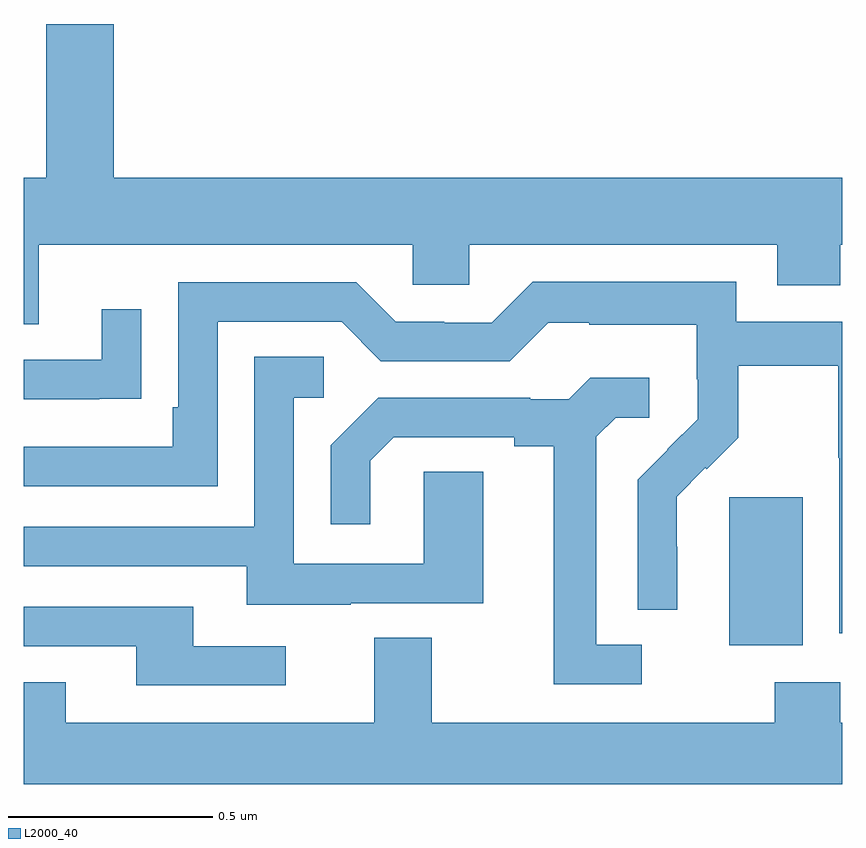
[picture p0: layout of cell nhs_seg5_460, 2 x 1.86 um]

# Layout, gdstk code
import gdstk
lib = gdstk.Library(unit=1e-6, precision=1e-09)
def R(c, l, rs):  # rectangles x0, y0, x1, y1
    for r in rs: c.add(gdstk.rectangle(r[:2], r[2:], *l))
def P(c, l, *ps):  # polygons
    for p in ps: c.add(gdstk.Polygon(p, *l))
L2000_40 = (2000, 40)

nhs_seg5_460 = lib.new_cell('nhs_seg5_460')
R(nhs_seg5_460, L2000_40, [(118.724,833.138,118.903,833.499)])
P(nhs_seg5_460, L2000_40, [(117.037,834.116),(117.951,834.116),(117.951,834.018),(118.089,834.018),(118.089,834.116),(118.841,834.116),(118.841,834.017),(118.994,834.017),(118.994,834.116),(119,834.116),(119,834.28),(117.22,834.28),(117.22,834.655),(117.056,834.655),(117.056,834.28),(117,834.28),(117,833.922),(117.037,833.922)],
  [(119,833.928),(118.74,833.928),(118.74,834.025),(118.243,834.025),(118.143,833.925),(118.028,833.925),(118.028,833.928),(117.909,833.928),(117.813,834.024),(117.378,834.024),(117.378,833.719),(117.365,833.719),(117.365,833.622),(117,833.622),(117,833.526),(117.474,833.526),(117.474,833.928),(117.777,833.928),(117.873,833.832),(118.188,833.832),(118.281,833.925),(118.381,833.925),(118.381,833.921),(118.644,833.921),(118.644,833.787),(118.646,833.787),(118.646,833.69),(118.572,833.616),(118.573,833.615),(118.5,833.542),(118.5,833.224),(118.596,833.224),(118.596,833.378),(118.595,833.378),(118.595,833.501),(118.665,833.571),(118.668,833.568),(118.745,833.645),(118.745,833.82),(118.99,833.82),(118.99,833.596),(118.992,833.596),(118.992,833.167),(119,833.167)],
  [(117.185,833.74),(117.287,833.74),(117.287,833.959),(117.191,833.959),(117.191,833.835),(117,833.835),(117,833.739),(117.185,833.739)],
  [(117.799,833.241),(118.123,833.241),(118.123,833.561),(117.978,833.561),(117.978,833.337),(117.66,833.337),(117.66,833.742),(117.733,833.742),(117.733,833.843),(117.564,833.843),(117.564,833.427),(117,833.427),(117,833.331),(117.545,833.331),(117.545,833.237),(117.799,833.237)],
  [(118.51,833.139),(118.399,833.139),(118.399,833.647),(118.446,833.694),(118.528,833.694),(118.528,833.791),(118.384,833.791),(118.332,833.739),(118.238,833.739),(118.238,833.742),(117.866,833.742),(117.75,833.626),(117.75,833.433),(117.847,833.433),(117.847,833.589),(117.904,833.646),(118.199,833.646),(118.199,833.624),(118.295,833.624),(118.295,833.043),(118.51,833.043)],
  [(117.64,833.136),(117.415,833.136),(117.415,833.232),(117,833.232),(117,833.136),(117.275,833.136),(117.275,833.04),(117.64,833.04)],
  [(119,832.948),(118.994,832.948),(118.994,833.047),(118.834,833.047),(118.834,832.948),(117.997,832.948),(117.997,833.156),(117.857,833.156),(117.857,832.948),(117.103,832.948),(117.103,833.047),(117,833.047),(117,832.799),(119,832.799)])

lib.write_gds('nhs_seg5_460.gds')
